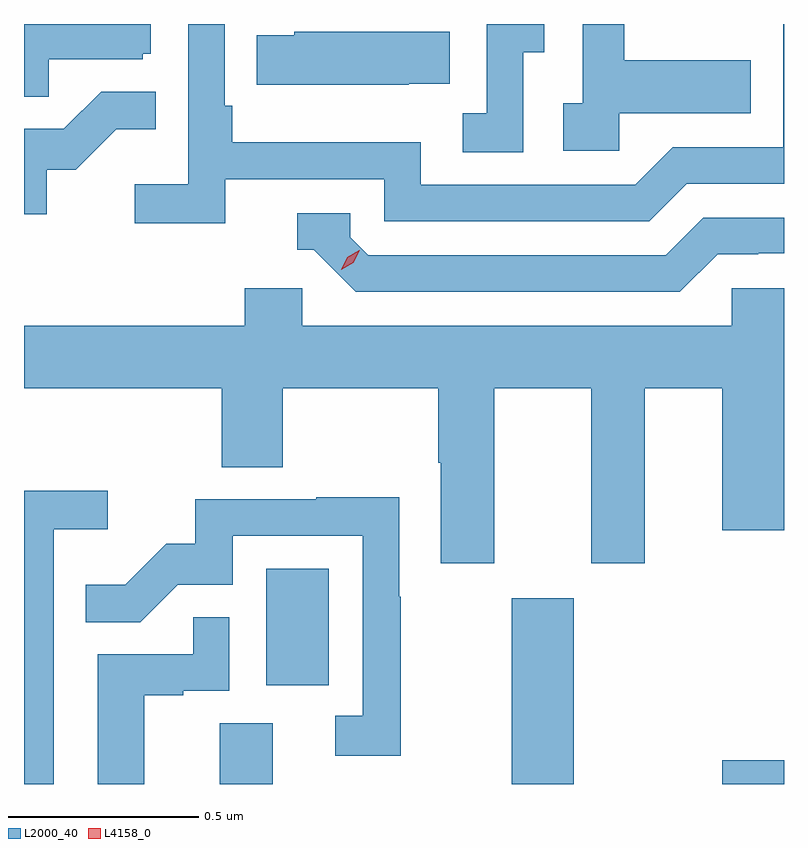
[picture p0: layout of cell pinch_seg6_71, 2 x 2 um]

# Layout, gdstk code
import gdstk
lib = gdstk.Library(unit=1e-6, precision=1e-09)
def R(c, l, rs):  # rectangles x0, y0, x1, y1
    for r in rs: c.add(gdstk.rectangle(r[:2], r[2:], *l))
def P(c, l, *ps):  # polygons
    for p in ps: c.add(gdstk.Polygon(p, *l))
L2000_40 = (2000, 40)
L4158_0 = (4158, 0)

pinch_seg6_71 = lib.new_cell('pinch_seg6_71')
R(pinch_seg6_71, L2000_40, [(894.953,926.314,895.093,926.474), (895.721,926.314,895.885,926.803), (896.276,926.314,896.438,926.377), (895.076,926.574,895.24,926.881)])
P(pinch_seg6_71, L2000_40, [(894.968,927.906),(895.386,927.906),(895.386,927.795),(896.083,927.795),(896.182,927.894),(896.438,927.894),(896.438,928.314),(896.436,928.314),(896.436,927.99),(896.145,927.99),(896.046,927.891),(895.482,927.891),(895.482,928.003),(894.986,928.003),(894.986,928.099),(894.966,928.099),(894.966,928.314),(894.87,928.314),(894.87,927.892),(894.729,927.892),(894.729,927.79),(894.968,927.79)],
  [(895.752,928.24),(895.807,928.24),(895.807,928.314),(895.656,928.314),(895.656,928.079),(895.593,928.079),(895.593,927.976),(895.752,927.976)],
  [(896.004,928.079),(896.351,928.079),(896.351,928.219),(896.017,928.219),(896.017,928.314),(895.908,928.314),(895.908,928.106),(895.857,928.106),(895.857,927.981),(896.004,927.981)],
  [(894.503,928.221),(894.75,928.221),(894.75,928.236),(894.772,928.236),(894.772,928.314),(894.438,928.314),(894.438,928.123),(894.503,928.123)],
  [(895.451,928.157),(895.559,928.157),(895.559,928.294),(895.149,928.294),(895.149,928.284),(895.051,928.284),(895.051,928.154),(895.451,928.154)],
  [(894.498,927.93),(894.574,927.93),(894.681,928.037),(894.785,928.037),(894.785,928.136),(894.641,928.136),(894.543,928.038),(894.438,928.038),(894.438,927.813),(894.498,927.813)],
  [(896.263,927.708),(896.37,927.708),(896.37,927.711),(896.438,927.711),(896.438,927.804),(896.226,927.804),(896.127,927.705),(895.344,927.705),(895.296,927.753),(895.296,927.816),(895.157,927.816),(895.157,927.72),(895.2,927.72),(895.311,927.609),(896.164,927.609)],
  [(895.675,927.356),(895.931,927.356),(895.931,926.895),(896.071,926.895),(896.071,927.356),(896.276,927.356),(896.276,926.982),(896.438,926.982),(896.438,927.618),(896.301,927.618),(896.301,927.52),(895.17,927.52),(895.17,927.618),(895.019,927.618),(895.019,927.52),(894.438,927.52),(894.438,927.356),(894.959,927.356),(894.959,927.148),(895.119,927.148),(895.119,927.356),(895.528,927.356),(895.528,927.16),(895.535,927.16),(895.535,926.895),(895.675,926.895)],
  [(894.516,926.984),(894.658,926.984),(894.658,927.086),(894.438,927.086),(894.438,926.314),(894.516,926.314)],
  [(895.43,926.807),(895.425,926.807),(895.425,927.068),(895.207,927.068),(895.207,927.063),(894.889,927.063),(894.889,926.946),(894.812,926.946),(894.705,926.839),(894.601,926.839),(894.601,926.74),(894.744,926.74),(894.842,926.838),(894.987,926.838),(894.987,926.967),(895.329,926.967),(895.329,926.493),(895.257,926.493),(895.257,926.388),(895.43,926.388)],
  [(894.754,926.547),(894.857,926.547),(894.857,926.559),(894.978,926.559),(894.978,926.753),(894.883,926.753),(894.883,926.655),(894.632,926.655),(894.632,926.314),(894.754,926.314)])
P(pinch_seg6_71, L4158_0, [(895.273,927.667),(895.273,927.667),(895.289,927.7),(895.32,927.719),(895.321,927.719),(895.321,927.719),(895.304,927.686),(895.273,927.667)])

lib.write_gds('pinch_seg6_71.gds')
